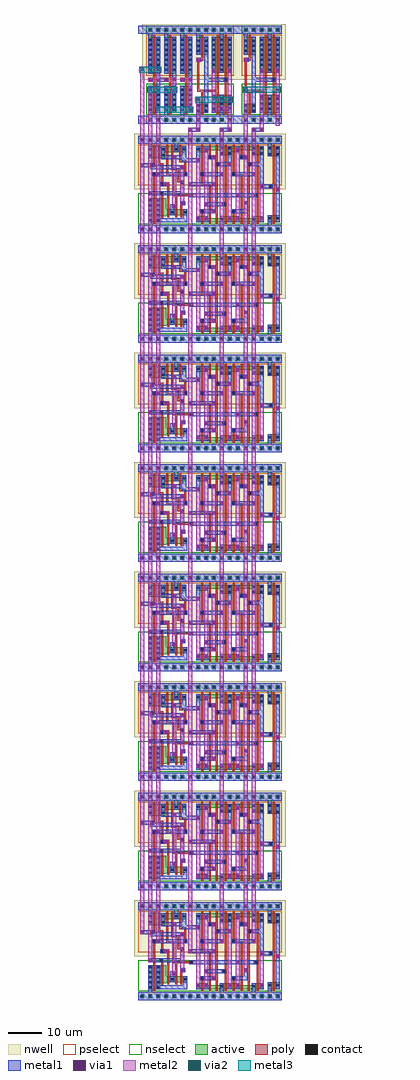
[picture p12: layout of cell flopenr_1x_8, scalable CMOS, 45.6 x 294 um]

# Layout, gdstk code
import gdstk
lib = gdstk.Library(unit=1e-6, precision=1e-09)
def R(c, l, rs):  # rectangles x0, y0, x1, y1
    for r in rs: c.add(gdstk.rectangle(r[:2], r[2:], *l))
def A(c, l, x, y, w, h, nx, ny, dx, dy):  # array of equal rectangles
    R(c, l, [(x+i*dx, y+j*dy, x+i*dx+w, y+j*dy+h) for i in range(nx) for j in range(ny)])
def P(c, l, *ps):  # polygons
    for p in ps: c.add(gdstk.Polygon(p, *l))
contact = (25, 0)
nwell = (42, 0)
active = (43, 0)
pselect = (44, 0)
nselect = (45, 0)
poly = (46, 0)
metal1 = (49, 0)
via1 = (50, 0)
metal2 = (51, 0)
via2 = (61, 0)
metal3 = (62, 0)

inv_4x = lib.new_cell('inv_4x')
A(inv_4x, contact, 0.9, 2.7, 0.6, 0.6, 1, 5, 0, 1.5)
A(inv_4x, contact, 3.3, 2.7, 0.6, 0.6, 1, 5, 0, 1.5)
A(inv_4x, contact, 0.9, 14.7, 0.6, 0.6, 1, 7, 0, 1.5)
A(inv_4x, contact, 3.3, 14.7, 0.6, 0.6, 1, 7, 0, 1.5)
R(inv_4x, contact, [(0.9,-0.3,1.5,0.3), (3.3,-0.3,3.9,0.3), (0.9,11.7,1.5,12.3), (0.9,26.7,1.5,27.3), (3.3,26.7,3.9,27.3)])
R(inv_4x, nwell, [(-1.2,12,6,28.8)])
R(inv_4x, active, [(0.6,-0.6,1.8,0.6), (3,-0.6,4.2,0.6), (0.6,2.1,4.2,10.2), (0.6,13.8,4.2,24.9), (0.6,26.4,1.8,27.6), (3,26.4,4.2,27.6)])
R(inv_4x, pselect, [(0,-1.2,4.8,1.2), (0,13.2,4.8,25.5)])
R(inv_4x, nselect, [(0,1.5,4.8,10.8), (0,25.8,4.8,28.2)])
P(inv_4x, poly, [(2.7,25.5),(2.1,25.5),(2.1,12.6),(0.6,12.6),(0.6,11.4),(2.1,11.4),(2.1,1.5),(2.7,1.5)])
R(inv_4x, metal1, [(0,-1.2,4.8,1.2), (3,2.1,4.2,24.9), (0.6,11.4,1.8,12.6), (0,25.8,4.8,28.2)])
P(inv_4x, metal1, [(4.8,28.2),(0,28.2),(0,25.8),(0.6,25.8),(0.6,13.8),(1.8,13.8),(1.8,25.8),(4.8,25.8)],
  [(4.8,1.2),(1.8,1.2),(1.8,10.2),(0.6,10.2),(0.6,1.2),(0,1.2),(0,-1.2),(4.8,-1.2)])
R(inv_4x, via1, [(0.9,11.7,1.5,12.3), (3.3,11.7,3.9,12.3)])
R(inv_4x, metal2, [(0.6,11.4,2.1,12.6), (0.6,11.4,1.8,12.6), (0.6,11.4,1.8,12.6), (3,11.4,4.2,12.6), (3,11.4,4.2,12.6)])

invbuf_4x = lib.new_cell('invbuf_4x')
A(invbuf_4x, contact, 0.9, -0.3, 0.6, 0.6, 4, 2, 2.4, 3)
A(invbuf_4x, contact, 0.9, 4.2, 0.6, 0.6, 4, 4, 2.4, 1.5)
A(invbuf_4x, contact, 0.9, 14.7, 0.6, 0.6, 4, 7, 2.4, 1.5)
A(invbuf_4x, contact, 0.9, 26.7, 0.6, 0.6, 4, 1, 2.4, 0)
R(invbuf_4x, contact, [(0.9,11.7,1.5,12.3), (5.7,11.7,6.3,12.3)])
R(invbuf_4x, nwell, [(-1.2,12,6,28.8), (3.6,12,10.8,28.8)])
A(invbuf_4x, active, 0.6, -0.6, 1.2, 1.2, 4, 2, 2.4, 27)
R(invbuf_4x, active, [(0.6,2.1,4.2,10.2), (5.4,2.1,9,10.2), (0.6,13.8,4.2,24.9), (5.4,13.8,9,24.9)])
R(invbuf_4x, pselect, [(0,-1.2,4.8,1.2), (4.8,-1.2,9.6,1.2), (0,13.2,4.8,25.5), (4.8,13.2,9.6,25.5)])
R(invbuf_4x, nselect, [(0,1.5,4.8,10.8), (4.8,1.5,9.6,10.8), (0,25.8,4.8,28.2), (4.8,25.8,9.6,28.2)])
P(invbuf_4x, poly, [(7.5,25.5),(6.9,25.5),(6.9,12.6),(5.4,12.6),(5.4,11.4),(6.9,11.4),(6.9,1.5),(7.5,1.5)],
  [(2.7,25.5),(2.1,25.5),(2.1,12.6),(0.6,12.6),(0.6,11.4),(2.1,11.4),(2.1,1.5),(2.7,1.5)])
R(invbuf_4x, metal1, [(0,-1.2,9.6,1.2), (0,-1.2,4.8,1.2), (4.8,-1.2,9.6,1.2), (3,2.1,4.2,24.9), (7.8,2.1,9,24.9), (0.6,11.4,1.8,12.6), (3,11.4,6.6,12.6), (0,25.8,9.6,28.2), (0,25.8,4.8,28.2), (4.8,25.8,9.6,28.2)])
P(invbuf_4x, metal1, [(9.6,1.2),(6.6,1.2),(6.6,10.2),(5.4,10.2),(5.4,1.2),(4.8,1.2),(4.8,-1.2),(9.6,-1.2)],
  [(9.6,28.2),(4.8,28.2),(4.8,25.8),(5.4,25.8),(5.4,13.8),(6.6,13.8),(6.6,25.8),(9.6,25.8)],
  [(4.8,1.2),(1.8,1.2),(1.8,10.2),(0.6,10.2),(0.6,1.2),(0,1.2),(0,-1.2),(4.8,-1.2)],
  [(4.8,28.2),(0,28.2),(0,25.8),(0.6,25.8),(0.6,13.8),(1.8,13.8),(1.8,25.8),(4.8,25.8)])
R(invbuf_4x, via1, [(0.9,11.7,1.5,12.3), (3.3,11.7,3.9,12.3), (8.1,11.7,8.7,12.3)])
R(invbuf_4x, metal2, [(0.6,11.4,1.8,12.6), (0.6,11.4,1.8,12.6), (0.6,11.4,1.8,12.6), (0.6,11.4,2.1,12.6), (3,11.4,4.2,12.6), (3,11.4,4.2,12.6), (3,11.4,4.2,12.6), (5.4,11.4,6.6,12.6), (5.4,11.4,6.6,12.6), (7.8,11.4,9,12.6), (7.8,11.4,9,12.6), (7.8,11.4,9,12.6)])

clkinvbuf_4x = lib.new_cell('clkinvbuf_4x')
A(clkinvbuf_4x, contact, 0.9, -0.3, 0.6, 0.6, 5, 2, 2.4, 27)
A(clkinvbuf_4x, contact, 5.7, 3, 0.6, 0.6, 3, 3, 2.4, 1.5)
A(clkinvbuf_4x, contact, 5.7, 14.7, 0.6, 0.6, 3, 7, 2.4, 1.5)
A(clkinvbuf_4x, contact, 0.9, 20.4, 0.6, 0.6, 1, 3, 0, 1.5)
A(clkinvbuf_4x, contact, 3.3, 20.4, 0.6, 0.6, 1, 3, 0, 1.5)
R(clkinvbuf_4x, contact, [(0.9,2.4,1.5,3), (3.3,2.4,3.9,3), (0.9,3.9,1.5,4.5), (3.3,3.9,3.9,4.5), (9.3,11.7,9.9,12.3), (1.2,17.7,1.8,18.3)])
R(clkinvbuf_4x, nwell, [(-1.2,12,13.2,28.8)])
A(clkinvbuf_4x, active, 0.6, -0.6, 1.2, 1.2, 5, 2, 2.4, 27)
R(clkinvbuf_4x, active, [(0.6,2.1,4.2,4.8), (5.4,2.1,11.4,7.5), (5.4,14.1,11.4,24.9), (0.6,19.5,4.2,24.9)])
R(clkinvbuf_4x, pselect, [(0,-1.2,12,1.2), (0,13.2,12,25.5)])
R(clkinvbuf_4x, nselect, [(0,1.5,12,10.8), (0,25.8,12,28.2)])
P(clkinvbuf_4x, poly, [(7.5,25.5),(6.9,25.5),(6.9,9),(1.5,9),(1.5,17.4),(2.1,17.4),(2.1,17.7),(2.7,17.7),(2.7,25.5),(2.1,25.5),(2.1,18.6),(0.9,18.6),(0.9,8.4),(2.1,8.4),(2.1,1.5),(2.7,1.5),(2.7,8.4),(6.9,8.4),(6.9,1.5),(7.5,1.5)],
  [(10.2,12.6),(9.9,12.6),(9.9,25.5),(9.3,25.5),(9.3,12.6),(9,12.6),(9,11.4),(9.3,11.4),(9.3,1.5),(9.9,1.5),(9.9,11.4),(10.2,11.4)])
R(clkinvbuf_4x, metal1, [(0,-1.2,12,1.2), (5.4,2.1,6.6,7.5), (10.2,2.1,11.4,7.5), (5.4,14.1,6.6,24.9), (10.2,14.1,11.4,24.9), (0.6,17.4,2.1,18.6), (0,25.8,12,28.2)])
P(clkinvbuf_4x, metal1, [(10.2,12.6),(4.2,12.6),(4.2,24.9),(3,24.9),(3,2.1),(4.2,2.1),(4.2,11.4),(10.2,11.4)],
  [(12,28.2),(0,28.2),(0,25.8),(0.6,25.8),(0.6,19.5),(1.8,19.5),(1.8,25.8),(7.8,25.8),(7.8,14.1),(9,14.1),(9,25.8),(12,25.8)],
  [(12,1.2),(9,1.2),(9,7.5),(7.8,7.5),(7.8,1.2),(1.8,1.2),(1.8,4.8),(0.6,4.8),(0.6,1.2),(0,1.2),(0,-1.2),(12,-1.2)])
R(clkinvbuf_4x, via1, [(5.7,6.6,6.3,7.2), (10.5,6.6,11.1,7.2), (5.7,14.4,6.3,15), (10.5,14.4,11.1,15), (0.9,17.7,1.5,18.3)])
R(clkinvbuf_4x, metal2, [(5.4,6.3,6.6,15.3), (5.4,6.3,6.6,7.5), (10.2,6.3,11.4,15.3), (10.2,6.3,11.4,7.5), (0.6,17.4,1.8,18.6)])

clkinvbufdual_4x = lib.new_cell('clkinvbufdual_4x')
R(clkinvbufdual_4x, metal1, [(0,-1.2,26.4,1.2), (0,25.8,26.4,28.2)])
A(clkinvbufdual_4x, metal2, 0.6, -1.8, 1.2, 1.2, 3, 1, 9.6, 0)
R(clkinvbufdual_4x, metal2, [(0.6,-1.8,1.8,6.6), (19.8,-1.8,21,7.5), (24.6,-1.8,25.8,7.5), (24.6,-1.8,25.8,-0.6), (10.2,5.4,11.4,6.6), (0.6,17.4,1.8,18.6), (15,17.4,16.2,18.6)])
P(clkinvbufdual_4x, metal2, [(11.4,3.9),(6.6,3.9),(6.6,7.5),(5.4,7.5),(5.4,2.7),(10.2,2.7),(10.2,-1.8),(11.4,-1.8)])
R(clkinvbufdual_4x, via2, [(0.9,5.7,1.5,6.3), (10.5,5.7,11.1,6.3)])
R(clkinvbufdual_4x, metal3, [(0.3,5.1,11.7,6.9)])
clkinvbufdual_4x.add(gdstk.Reference(clkinvbuf_4x, (0,0)))
clkinvbufdual_4x.add(gdstk.Reference(clkinvbuf_4x, (14.4,0)))

flopenr_dp_1x = lib.new_cell('flopenr_dp_1x')
A(flopenr_dp_1x, contact, 0.9, -0.3, 0.6, 0.6, 18, 2, 2.4, 27)
A(flopenr_dp_1x, contact, 3.3, 2.4, 0.6, 0.6, 1, 5, 0, 1.5)
A(flopenr_dp_1x, contact, 5.7, 2.4, 0.6, 0.6, 1, 5, 0, 1.5)
A(flopenr_dp_1x, contact, 24.9, 2.7, 0.6, 0.6, 3, 1, 2.4, 0)
A(flopenr_dp_1x, contact, 3.3, 23.7, 0.6, 0.6, 3, 1, 3.9, 0)
A(flopenr_dp_1x, contact, 34.5, 24, 0.6, 0.6, 4, 1, 2.4, 0)
R(flopenr_dp_1x, contact, [(17.7,2.7,18.3,3.3), (20.1,2.7,20.7,3.3), (34.5,2.7,35.1,3.3), (36.9,2.7,37.5,3.3), (39.3,3,39.9,3.6), (41.7,3,42.3,3.6), (9.9,4.8,10.5,5.4), (13.8,4.8,14.4,5.4), (18.9,5.1,19.5,5.7), (28.5,5.1,29.1,5.7), (25.5,7.2,26.1,7.8), (13.2,7.5,13.8,8.1), (15.6,9.9,16.2,10.5), (35.1,9.9,35.7,10.5), (6.6,10.5,7.2,11.1), (39.6,12.6,40.2,13.2), (6.9,13.2,7.5,13.8), (12.9,13.8,13.5,14.4), (4.5,16.2,5.1,16.8), (13.8,16.2,14.4,16.8), (18.9,16.2,19.5,16.8), (28.5,16.2,29.1,16.8), (3.9,18.9,4.5,19.5), (24,19.2,24.6,19.8), (33.6,19.2,34.2,19.8), (21.3,21.3,21.9,21.9), (30.9,21.3,31.5,21.9), (3.3,21.9,3.9,22.5), (7.2,21.9,7.8,22.5), (39.3,22.2,39.9,22.8), (41.7,22.2,42.3,22.8), (24.9,22.5,25.5,23.1), (27.3,22.5,27.9,23.1), (34.5,22.5,35.1,23.1), (36.9,22.5,37.5,23.1), (13.5,23.7,14.1,24.3), (17.7,23.7,18.3,24.3), (20.1,23.7,20.7,24.3), (29.7,23.7,30.3,24.3), (24.9,24,25.5,24.6), (27.3,24,27.9,24.6)])
R(flopenr_dp_1x, nwell, [(-1.2,12,44.4,28.8)])
A(flopenr_dp_1x, active, 0.6, -0.6, 1.2, 1.2, 18, 2, 2.4, 27)
R(flopenr_dp_1x, active, [(3,2.1,6.6,9.3), (17.4,2.1,21,3.9), (21,2.1,24.6,3.3), (24.6,2.1,30.6,3.9), (30.6,2.1,34.2,3.3), (34.2,2.1,37.8,3.9), (39,2.1,42.6,4.2), (6.6,3.9,8.4,9.3), (8.4,4.2,14.7,6), (3,21.3,8.1,24.9), (39,21.9,42.6,24.9), (24.6,22.2,28.2,24.9), (34.2,22.2,37.8,24.9), (8.1,23.1,14.4,24.9), (17.4,23.1,21,24.9), (28.2,23.1,30.6,24.9), (21,23.7,24.6,24.9), (30.6,23.7,34.2,24.9)])
R(flopenr_dp_1x, pselect, [(0,-1.2,43.2,1.2), (0,13.2,43.2,25.5)])
R(flopenr_dp_1x, nselect, [(0,1.5,43.2,10.8), (0,25.8,43.2,28.2)])
P(flopenr_dp_1x, poly, [(5.1,25.5),(4.5,25.5),(4.5,19.8),(3.6,19.8),(3.6,18.6),(4.8,18.6),(4.8,18.9),(5.1,18.9)],
  [(5.4,17.1),(4.2,17.1),(4.2,15.9),(4.5,15.9),(4.5,1.5),(5.1,1.5),(5.1,15.9),(5.4,15.9)],
  [(7.5,11.4),(6.3,11.4),(6.3,10.2),(6.9,10.2),(6.9,3.3),(7.5,3.3)],
  [(9.3,14.1),(7.5,14.1),(7.5,19.8),(6.6,19.8),(6.6,25.5),(6,25.5),(6,19.2),(6.9,19.2),(6.9,14.1),(6.6,14.1),(6.6,12.9),(8.7,12.9),(8.7,3.6),(9.3,3.6)],
  [(13.8,14.7),(12.3,14.7),(12.3,18.3),(10.5,18.3),(10.5,25.5),(9.9,25.5),(9.9,17.7),(11.7,17.7),(11.7,14.1),(12.6,14.1),(12.6,13.5),(13.8,13.5)],
  [(14.1,8.4),(12.9,8.4),(12.9,8.1),(12.6,8.1),(12.6,3.6),(13.2,3.6),(13.2,7.2),(14.1,7.2)],
  [(14.7,17.1),(14.4,17.1),(14.4,20.7),(12.9,20.7),(12.9,25.5),(12.3,25.5),(12.3,20.1),(13.8,20.1),(13.8,17.1),(13.5,17.1),(13.5,15.9),(14.7,15.9)],
  [(16.5,10.8),(15.3,10.8),(15.3,10.5),(10.8,10.5),(10.8,16.5),(9,16.5),(9,25.5),(8.4,25.5),(8.4,15.9),(10.2,15.9),(10.2,9.9),(11.1,9.9),(11.1,3.6),(11.7,3.6),(11.7,9.9),(15.3,9.9),(15.3,9.6),(16.5,9.6)],
  [(19.8,6),(18.6,6),(18.6,4.8),(18.9,4.8),(18.9,1.5),(19.5,1.5),(19.5,4.8),(19.8,4.8)],
  [(21.9,13.5),(19.5,13.5),(19.5,15.9),(19.8,15.9),(19.8,17.1),(19.5,17.1),(19.5,25.5),(18.9,25.5),(18.9,17.1),(18.6,17.1),(18.6,15.9),(18.9,15.9),(18.9,12.9),(21.3,12.9),(21.3,1.5),(21.9,1.5)],
  [(22.2,22.2),(21.9,22.2),(21.9,25.5),(21.3,25.5),(21.3,22.2),(21,22.2),(21,21),(22.2,21)],
  [(24.9,20.1),(24,20.1),(24,25.5),(23.4,25.5),(23.4,1.5),(24,1.5),(24,18.9),(24.9,18.9)],
  [(26.7,25.5),(26.1,25.5),(26.1,8.1),(25.2,8.1),(25.2,6.9),(26.1,6.9),(26.1,1.5),(26.7,1.5)],
  [(29.4,6),(28.2,6),(28.2,4.8),(28.5,4.8),(28.5,1.5),(29.1,1.5),(29.1,4.8),(29.4,4.8)],
  [(31.5,16.5),(29.4,16.5),(29.4,17.1),(29.1,17.1),(29.1,25.5),(28.5,25.5),(28.5,17.1),(28.2,17.1),(28.2,15.9),(30.9,15.9),(30.9,1.5),(31.5,1.5)],
  [(31.8,22.2),(31.5,22.2),(31.5,25.5),(30.9,25.5),(30.9,22.2),(30.6,22.2),(30.6,21),(31.8,21)],
  [(34.5,20.1),(33.6,20.1),(33.6,25.5),(33,25.5),(33,1.5),(33.6,1.5),(33.6,18.9),(34.5,18.9)],
  [(36.3,25.5),(35.7,25.5),(35.7,10.8),(34.8,10.8),(34.8,9.6),(35.7,9.6),(35.7,1.5),(36.3,1.5)],
  [(41.1,25.5),(40.5,25.5),(40.5,13.5),(39.3,13.5),(39.3,12.3),(40.5,12.3),(40.5,1.5),(41.1,1.5)])
R(flopenr_dp_1x, metal1, [(0,-1.2,43.2,1.2), (17.4,2.1,18.6,3.9), (19.8,2.1,21,3.9), (27,2.1,28.2,3.9), (29.4,2.1,30.6,3.9), (36.6,2.1,37.8,3.9), (41.4,2.1,42.6,24.9), (18.6,4.8,23.4,6), (19.8,6.9,26.4,8.1), (12.6,7.2,14.1,8.4), (15.3,9.6,36,10.8), (6.6,12.9,9,14.1), (15,12.9,23.4,14.1), (4.2,15.9,14.7,17.1), (18.6,15.9,25.8,17.1), (28.2,15.9,35.4,17.1), (21,21,23.4,22.2), (30.6,21,33,22.2), (19.8,23.1,21,24.9), (29.4,23.1,30.6,24.9), (0,25.8,43.2,28.2)])
P(flopenr_dp_1x, metal1, [(11.4,7.5),(9.6,7.5),(9.6,4.2),(10.8,4.2),(10.8,6.3),(11.4,6.3)],
  [(13.8,19.2),(4.8,19.2),(4.8,19.8),(0.6,19.8),(0.6,18.6),(3.6,18.6),(3.6,18),(13.8,18)],
  [(13.8,14.7),(12.6,14.7),(12.6,11.4),(3,11.4),(3,10.2),(13.8,10.2)],
  [(14.7,6),(13.5,6),(13.5,3.3),(6.6,3.3),(6.6,9.3),(5.4,9.3),(5.4,2.1),(14.7,2.1)],
  [(18.6,24.9),(17.4,24.9),(17.4,21.3),(14.4,21.3),(14.4,24.9),(13.2,24.9),(13.2,22.2),(8.1,22.2),(8.1,24.9),(6.9,24.9),(6.9,21),(13.2,21),(13.2,20.1),(18.6,20.1)],
  [(28.2,24.9),(27,24.9),(27,20.1),(23.7,20.1),(23.7,18.9),(28.2,18.9)],
  [(33,8.4),(31.8,8.4),(31.8,6),(28.2,6),(28.2,4.8),(33,4.8)],
  [(40.5,13.5),(37.8,13.5),(37.8,24.9),(36.6,24.9),(36.6,20.1),(33.3,20.1),(33.3,18.9),(36.6,18.9),(36.6,12.3),(40.5,12.3)],
  [(43.2,28.2),(0,28.2),(0,25.8),(3,25.8),(3,21.3),(4.2,21.3),(4.2,25.8),(10.8,25.8),(10.8,23.1),(12,23.1),(12,25.8),(24.6,25.8),(24.6,22.2),(25.8,22.2),(25.8,25.8),(34.2,25.8),(34.2,22.2),(35.4,22.2),(35.4,25.8),(39,25.8),(39,21.9),(40.2,21.9),(40.2,25.8),(43.2,25.8)],
  [(43.2,1.2),(40.2,1.2),(40.2,4.2),(39,4.2),(39,1.2),(35.4,1.2),(35.4,3.9),(34.2,3.9),(34.2,1.2),(25.8,1.2),(25.8,3.9),(24.6,3.9),(24.6,1.2),(4.2,1.2),(4.2,9.3),(3,9.3),(3,1.2),(0,1.2),(0,-1.2),(43.2,-1.2)])
A(flopenr_dp_1x, via1, 8.1, 13.2, 0.6, 0.6, 3, 1, 7.2, 0)
R(flopenr_dp_1x, via1, [(17.7,3,18.3,3.6), (20.1,3,20.7,3.6), (27.3,3,27.9,3.6), (29.7,3,30.3,3.6), (36.9,3,37.5,3.6), (22.5,5.1,23.1,5.7), (10.5,6.6,11.1,7.2), (20.1,7.2,20.7,7.8), (12.9,7.5,13.5,8.1), (32.1,7.5,32.7,8.1), (29.7,9.9,30.3,10.5), (3.3,10.5,3.9,11.1), (41.7,11.7,42.3,12.3), (36.9,12.6,37.5,13.2), (5.7,16.2,6.3,16.8), (24.9,16.2,25.5,16.8), (34.5,16.2,35.1,16.8), (12.9,18.3,13.5,18.9), (0.9,18.9,1.5,19.5), (27.3,19.2,27.9,19.8), (17.7,20.4,18.3,21), (10.5,21.3,11.1,21.9), (22.5,21.3,23.1,21.9), (32.1,21.3,32.7,21.9), (20.1,23.4,20.7,24), (29.7,23.4,30.3,24)])
R(flopenr_dp_1x, metal2, [(17.4,2.7,18.6,21.3), (19.8,2.7,21,24.3), (27,2.7,28.2,20.1), (29.4,2.7,30.6,24.3), (36.6,2.7,37.8,13.5), (22.2,4.8,23.4,22.2), (10.2,6.3,11.4,22.2), (12.6,7.2,13.8,19.2), (31.8,7.2,33,8.4), (31.8,7.2,33,22.2), (3,10.2,4.2,11.4), (41.4,11.4,42.6,12.6), (7.8,12.9,9,14.1), (15,12.9,16.2,14.1), (5.4,15.9,6.6,17.1), (24.6,15.9,25.8,17.1), (34.2,15.9,35.4,17.1), (0.6,18.6,1.8,19.8)])

flopenr_1x_8 = lib.new_cell('flopenr_1x_8')
A(flopenr_1x_8, metal1, 15, 260.4, 3.6, 1.2, 3, 1, 9.6, 0)
R(flopenr_1x_8, metal1, [(0,-1.2,43.2,1.2), (0,25.8,43.2,28.2), (0,31.8,43.2,34.2), (0,58.8,43.2,61.2), (0,64.8,43.2,67.2), (0,91.8,43.2,94.2), (0,97.8,43.2,100.2), (0,124.8,43.2,127.2), (0,130.8,43.2,133.2), (0,157.8,43.2,160.2), (0,163.8,43.2,166.2), (0,190.8,43.2,193.2), (0,196.8,43.2,199.2), (0,223.8,43.2,226.2), (0,229.8,43.2,232.2), (0,256.8,43.2,259.2), (0,262.8,43.2,265.2), (0,289.8,43.2,292.2)])
R(flopenr_1x_8, via1, [(15.3,260.7,15.9,261.3), (17.7,260.7,18.3,261.3), (24.9,260.7,25.5,261.3), (27.3,260.7,27.9,261.3), (34.5,260.7,35.1,261.3), (36.9,260.7,37.5,261.3)])
A(flopenr_1x_8, metal2, 41.4, 11.4, 1.2, 1.2, 1, 8, 0, 33)
A(flopenr_1x_8, metal2, 7.8, 12.9, 1.2, 1.2, 1, 8, 0, 33)
A(flopenr_1x_8, metal2, 17.4, 260.4, 1.2, 3, 3, 1, 9.6, 0)
R(flopenr_1x_8, metal2, [(31.8,7.2,33,273.6), (3,10.2,4.2,273.6), (15,12.9,16.2,261.6), (5.4,15.9,6.6,267.6), (24.6,15.9,25.8,261.6), (34.2,15.9,35.4,261.6), (0.6,18.6,1.8,279.6), (15,266.4,16.2,276.6), (41.4,271.5,42.6,273.6), (10.2,272.4,11.4,276.6), (3,275.4,4.2,276.6), (5.4,275.4,6.6,279.6), (12.6,275.4,13.8,276.6), (17.4,281.4,18.6,282.6), (31.8,281.4,33,282.6)])
R(flopenr_1x_8, via2, [(5.7,266.7,6.3,267.3), (15.3,266.7,15.9,267.3), (3.3,272.7,3.9,273.3), (10.5,272.7,11.1,273.3), (32.1,272.7,32.7,273.3), (41.7,272.7,42.3,273.3), (0.9,278.7,1.5,279.3), (5.7,278.7,6.3,279.3)])
R(flopenr_1x_8, metal3, [(5.1,266.1,16.5,267.9), (2.7,272.1,11.7,273.9), (31.5,272.1,42.9,273.9), (0.3,278.1,6.9,279.9)])
flopenr_1x_8.add(gdstk.Reference(inv_4x, (12,264)))
flopenr_1x_8.add(gdstk.Reference(invbuf_4x, (2.4,264)))
flopenr_1x_8.add(gdstk.Reference(clkinvbufdual_4x, (16.8,264)))
r = gdstk.Reference(flopenr_dp_1x, (0,0)); r.repetition = gdstk.Repetition(1, 8, v1=(45.6,0), v2=(0,33)); flopenr_1x_8.add(r)

lib.write_gds('flopenr_1x_8.gds')
